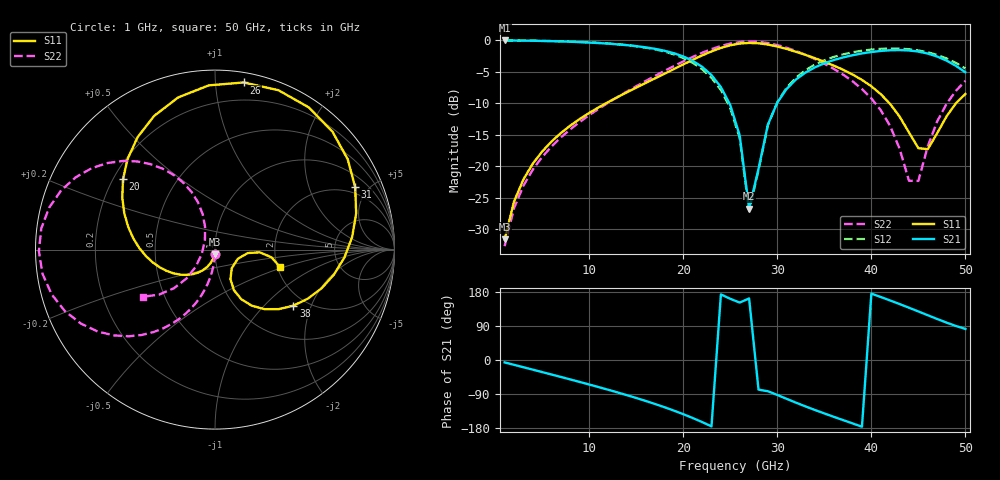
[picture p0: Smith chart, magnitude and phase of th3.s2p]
! Impedora 0.10.0 via model, case th3 (fullwave/cases.json), 2026-11-19
! Through via to a stripline in the low-loss board: as bl6, with the barrel running on through a 0.8 mm plane pair below as a stub: with its pads and traces, ports at the far end of each trace, after the 3D port calibration.
! Ports: 1 = upper end, 2 = lower end, 50 ohm.
! Compared with the edge 3D mesh.
# Hz S RI R 50
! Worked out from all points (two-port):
!   50 points, 1 GHz to 50 GHz, reference 50 ohm
!   highest |S21| = 0.00 dB at 1 GHz (marker M1); lowest = -26.7 dB at 27 GHz (marker M2)
!   |S21| within 3 dB of the highest: start of sweep to 20.66 GHz; 36.27 GHz to 47.69 GHz (11.43 GHz wide, 27.2 % of centre)
!   lowest |S11| = -31.6 dB at 1 GHz (marker M3), VSWR 1.05, Z = 49.7 - j2.6 ohm
!   |S11| at or under -10 dB: start of sweep to 11.75 GHz; 41.94 GHz to 48.98 GHz (7.04 GHz wide, 15.5 % of centre)
!   |S22| runs from -32.7 to -0.2 dB; largest |S21 - S12| = 1.5
!   S11 on the Smith chart (normalised r, x): 1 GHz: 0.99, -0.05; 20 GHz: 0.24, +0.32; 26 GHz: 0.07, +1.18; 31 GHz: 1.58, +4.11; 38 GHz: 1.72, -1.51; 50 GHz: 2.07, -0.47
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1e9  -0.00276 -0.0261  0.9935 -0.1107  0.998 -0.059  -0.000586 -0.0232
2e9  -0.011 -0.0514  0.974 -0.2199  0.9919 -0.1179  -0.00236 -0.0466
4e9  -0.0429 -0.096  0.8974 -0.4278  0.9673 -0.2345  -0.00965 -0.0938
1e10  -0.2306 -0.1324  0.411 -0.8698  0.7874 -0.5595  -0.07 -0.2454
1.4e10  -0.3854 -0.0354  -0.0445 -0.9164  0.5638 -0.7243  -0.1633 -0.3569
1.8e10  -0.5053 0.2017  -0.4701 -0.6818  0.2458 -0.7777  -0.342 -0.4593
2e10  -0.5127 0.3918  -0.5958 -0.4492  0.0656 -0.7219  -0.4812 -0.483
2.2e10  -0.4316 0.6259  -0.5932 -0.1727  -0.0927 -0.5837  -0.6546 -0.4558
2.4e10  -0.2057 0.8474  -0.4231 0.0509  -0.1696 -0.366  -0.8355 -0.3434
2.6e10  0.1591 0.9312  -0.1545 0.0839  -0.1049 -0.1303  -0.961 -0.135
2.7e10  0.3532 0.8881  -0.0439 0.0139  -0.0181 -0.0404  -0.9812 -0.00853
2.9e10  0.6544 0.6571  0.0282 -0.2129  0.2108 0.0288  -0.9243 0.2334
3.1e10  0.7808 0.3487  -0.0903 -0.4031  0.4192 -0.0487  -0.7762 0.4028
3.4e10  0.7211 -0.0437  -0.4087 -0.4549  0.5657 -0.3066  -0.5132 0.4941
3.8e10  0.4367 -0.3122  -0.7446 -0.1673  0.4721 -0.6526  -0.2293 0.4152
4e10  0.2771 -0.3319  -0.8067 0.0682  0.34 -0.7752  -0.1306 0.321
4.2e10  0.1466 -0.2765  -0.7696 0.3261  0.1702 -0.8461  -0.0687 0.1976
4.4e10  0.0861 -0.1651  -0.6183 0.5577  -0.019 -0.8513  -0.0562 0.0525
4.5e10  0.0934 -0.1037  -0.5032 0.6422  -0.1123 -0.8257  -0.0731 -0.0231
4.6e10  0.127 -0.0515  -0.3707 0.6941  -0.1983 -0.7808  -0.1075 -0.0962
4.7e10  0.1823 -0.0193  -0.2328 0.708  -0.2716 -0.7183  -0.1598 -0.162
5e10  0.363 -0.0977  0.0776 0.5533  -0.3653 -0.4739  -0.3993 -0.2629
